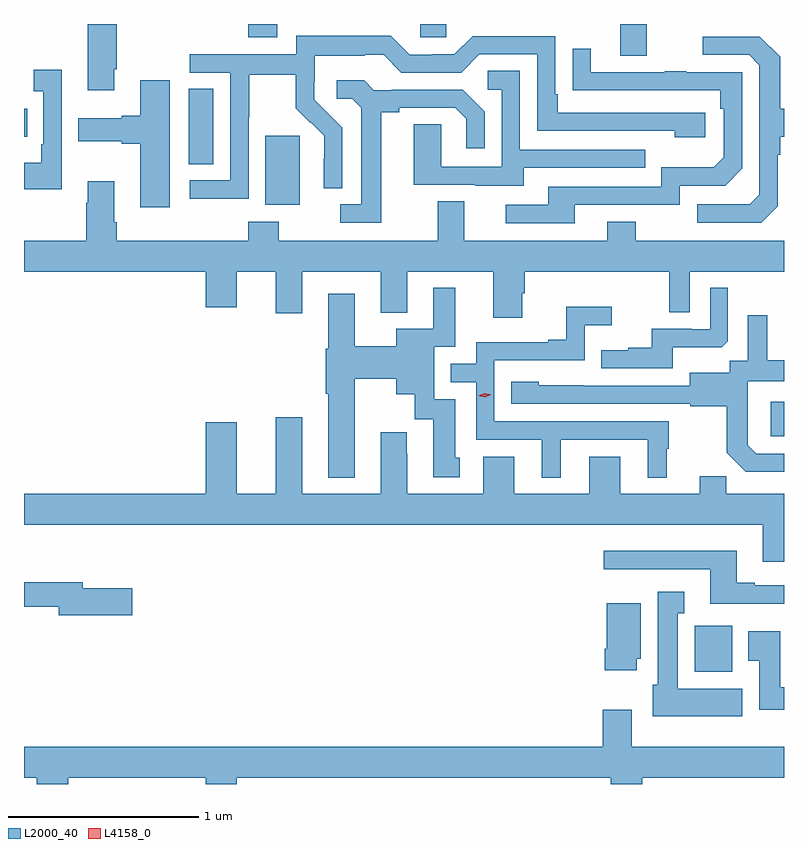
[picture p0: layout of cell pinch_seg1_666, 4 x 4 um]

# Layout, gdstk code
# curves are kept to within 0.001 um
import gdstk
lib = gdstk.Library(unit=1e-6, precision=1e-09)
def R(c, l, rs):  # rectangles x0, y0, x1, y1
    for r in rs: c.add(gdstk.rectangle(r[:2], r[2:], *l))
def P(c, l, *ps):  # polygons
    for p in ps: c.add(gdstk.Polygon(p, *l))
L2000_40 = (2000, 40)
L4158_0 = (4158, 0)

pinch_seg1_666 = lib.new_cell('pinch_seg1_666')
R(pinch_seg1_666, L2000_40, [(862.886,564.278,863.083,564.52), (863.285,565.518,863.356,565.699), (860.627,566.738,860.806,567.099), (860.222,566.95,860.353,567.347), (859.356,567.095,859.373,567.243), (862.493,567.522,862.633,567.688), (860.537,567.617,860.689,567.688), (861.441,567.618,861.579,567.688)])
P(pinch_seg1_666, L2000_40, [(859.831,567.451),(859.844,567.451),(859.844,567.688),(859.691,567.688),(859.691,567.339),(859.831,567.339)],
  [(860.538,567.196),(860.541,567.196),(860.541,567.42),(860.785,567.42),(860.785,567.245),(860.862,567.168),(860.865,567.171),(860.936,567.101),(860.936,566.978),(860.934,566.978),(860.934,566.824),(861.03,566.824),(861.03,567.142),(860.884,567.29),(860.884,567.387),(860.886,567.387),(860.886,567.521),(861.149,567.521),(861.149,567.525),(861.249,567.525),(861.342,567.432),(861.657,567.432),(861.753,567.528),(862.056,567.528),(862.056,567.126),(862.781,567.126),(862.781,567.092),(862.942,567.092),(862.942,567.222),(862.165,567.222),(862.165,567.319),(862.152,567.319),(862.152,567.624),(861.717,567.624),(861.621,567.528),(861.503,567.528),(861.503,567.525),(861.387,567.525),(861.287,567.625),(860.79,567.625),(860.79,567.528),(860.229,567.528),(860.229,567.432),(860.442,567.432),(860.442,566.865),(860.229,566.865),(860.229,566.767),(860.538,566.767)],
  [(863.322,566.73),(863.322,566.999),(863.335,566.999),(863.335,567.095),(863.356,567.095),(863.356,567.243),(863.335,567.243),(863.335,567.515),(863.229,567.621),(862.929,567.621),(862.929,567.525),(863.172,567.525),(863.226,567.471),(863.226,566.79),(863.175,566.739),(862.899,566.739),(862.899,566.643),(863.235,566.643)],
  [(862.255,566.736),(862.806,566.736),(862.806,566.838),(863.046,566.838),(863.136,566.928),(863.136,567.435),(862.841,567.435),(862.841,567.44),(862.729,567.44),(862.729,567.435),(862.339,567.435),(862.339,567.559),(862.243,567.559),(862.243,567.34),(863.02,567.339),(863.02,567.242),(863.04,567.242),(863.04,566.988),(862.987,566.935),(862.71,566.935),(862.71,566.832),(862.115,566.832),(862.115,566.736),(861.891,566.736),(861.891,566.64),(862.255,566.64)],
  [(859.554,567.448),(859.407,567.448),(859.407,567.335),(859.458,567.335),(859.458,567.055),(859.446,567.055),(859.446,566.959),(859.356,566.959),(859.356,566.819),(859.554,566.819)],
  [(861.985,566.931),(862.625,566.931),(862.625,567.027),(861.966,567.027),(861.966,567.443),(861.798,567.443),(861.798,567.342),(861.87,567.342),(861.87,566.937),(861.552,566.937),(861.552,567.161),(861.407,567.161),(861.407,566.841),(861.731,566.841),(861.731,566.837),(861.985,566.837)],
  [(861.235,567.224),(861.331,567.224),(861.331,567.246),(861.626,567.246),(861.683,567.189),(861.683,567.033),(861.78,567.033),(861.78,567.226),(861.664,567.342),(861.292,567.342),(861.292,567.339),(861.198,567.339),(861.146,567.391),(861.003,567.391),(861.003,567.294),(861.084,567.294),(861.131,567.247),(861.131,566.739),(861.021,566.739),(861.021,566.643),(861.235,566.643)],
  [(860.122,567.391),(859.967,567.391),(859.967,567.206),(859.871,567.206),(859.871,567.193),(859.641,567.193),(859.641,567.071),(859.871,567.071),(859.871,567.059),(859.967,567.059),(859.967,566.724),(860.122,566.724)],
  [(861.979,566.271),(861.992,566.271),(861.992,566.384),(862.752,566.384),(862.752,566.17),(862.86,566.17),(862.86,566.384),(863.356,566.384),(863.356,566.548),(862.575,566.548),(862.575,566.647),(862.427,566.647),(862.427,566.548),(861.673,566.548),(861.673,566.756),(861.533,566.756),(861.533,566.548),(860.697,566.548),(860.697,566.647),(860.537,566.647),(860.537,566.548),(859.844,566.548),(859.844,566.644),(859.831,566.644),(859.831,566.86),(859.691,566.86),(859.691,566.747),(859.684,566.747),(859.684,566.548),(859.356,566.548),(859.356,566.384),(860.312,566.384),(860.312,566.196),(860.476,566.196),(860.476,566.384),(860.681,566.384),(860.681,566.166),(860.821,566.166),(860.821,566.384),(861.233,566.384),(861.233,566.168),(861.373,566.168),(861.373,566.384),(861.827,566.384),(861.827,566.142),(861.979,566.142)],
  [(862.771,565.988),(863.029,565.988),(863.061,566.019),(863.061,566.299),(862.968,566.299),(862.968,566.082),(862.868,566.082),(862.868,566.085),(862.661,566.085),(862.661,565.984),(862.537,565.984),(862.537,565.972),(862.393,565.972),(862.393,565.875),(862.771,565.875)],
  [(861.097,565.82),(861.314,565.82),(861.314,565.739),(861.413,565.739),(861.413,565.608),(861.509,565.608),(861.509,565.302),(861.649,565.302),(861.649,565.404),(861.625,565.404),(861.625,565.713),(861.516,565.713),(861.516,565.989),(861.625,565.989),(861.625,566.299),(861.509,566.299),(861.509,566.083),(861.314,566.083),(861.314,565.992),(861.097,565.992),(861.097,566.269),(860.957,566.269),(860.957,565.98),(860.945,565.98),(860.945,565.743),(860.957,565.743),(860.957,565.301),(861.097,565.301)],
  [(862.18,565.5),(862.64,565.5),(862.64,565.301),(862.738,565.301),(862.738,565.452),(862.75,565.452),(862.75,565.596),(861.831,565.596),(861.831,565.917),(862.308,565.917),(862.308,566.102),(862.45,566.102),(862.45,566.201),(862.21,566.201),(862.21,566.026),(862.115,566.026),(862.115,566.013),(861.735,566.013),(861.735,565.899),(861.602,565.899),(861.602,565.803),(861.735,565.803),(861.735,565.5),(862.082,565.5),(862.082,565.301),(862.18,565.301)],
  [(863.356,565.425),(863.211,565.425),(863.164,565.472),(863.164,565.567),(863.166,565.567),(863.166,565.808),(863.356,565.808),(863.356,565.918),(863.269,565.918),(863.269,566.155),(863.165,566.155),(863.165,565.916),(863.07,565.916),(863.07,565.852),(862.859,565.852),(862.859,565.785),(862.065,565.786),(862.065,565.804),(861.921,565.804),(861.921,565.689),(862.863,565.689),(862.863,565.677),(863.055,565.677),(863.055,565.431),(863.155,565.331),(863.356,565.331)],
  [(863.356,565.216),(863.051,565.216),(863.051,565.307),(862.913,565.307),(862.913,565.216),(862.495,565.216),(862.495,565.411),(862.331,565.411),(862.331,565.216),(861.937,565.216),(861.937,565.411),(861.773,565.411),(861.773,565.216),(861.373,565.216),(861.373,565.427),(861.37,565.427),(861.37,565.54),(861.233,565.54),(861.233,565.216),(860.821,565.216),(860.821,565.618),(860.681,565.618),(860.681,565.216),(860.476,565.216),(860.476,565.591),(860.312,565.591),(860.312,565.216),(859.356,565.216),(859.356,565.052),(863.243,565.052),(863.243,564.858),(863.356,564.858)],
  [(863.356,564.735),(863.203,564.735),(863.203,564.748),(863.107,564.748),(863.107,564.916),(862.407,564.916),(862.407,564.819),(862.967,564.819),(862.967,564.638),(863.356,564.638)],
  [(859.927,564.717),(859.666,564.717),(859.666,564.751),(859.356,564.751),(859.356,564.622),(859.538,564.622),(859.538,564.575),(859.927,564.575)],
  [(863.137,564.19),(862.798,564.19),(862.798,564.587),(862.831,564.587),(862.831,564.7),(862.691,564.7),(862.691,564.21),(862.664,564.21),(862.664,564.044),(863.137,564.044)],
  [(862.582,564.348),(862.603,564.348),(862.603,564.64),(862.424,564.64),(862.424,564.4),(862.412,564.4),(862.412,564.288),(862.582,564.288)],
  [(863.356,564.196),(863.335,564.196),(863.335,564.493),(863.168,564.493),(863.168,564.337),(863.225,564.337),(863.225,564.078),(863.356,564.078)],
  [(859.588,563.72),(860.312,563.72),(860.312,563.688),(860.476,563.688),(860.476,563.72),(862.445,563.72),(862.445,563.688),(862.61,563.688),(862.61,563.72),(863.356,563.72),(863.356,563.884),(862.555,563.884),(862.555,564.079),(862.403,564.079),(862.403,563.884),(859.356,563.884),(859.356,563.72),(859.424,563.72),(859.424,563.688),(859.588,563.688)])
P(pinch_seg1_666, L4158_0, [(861.782,565.724),(861.747,565.731),(861.746,565.731),(861.747,565.731),(861.78,565.744),(861.815,565.736),(861.815,565.736),(861.815,565.736)])

lib.write_gds('pinch_seg1_666.gds')
